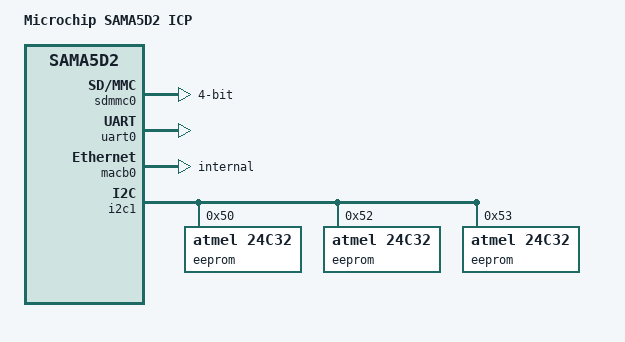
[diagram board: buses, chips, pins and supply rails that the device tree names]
// SPDX-License-Identifier: GPL-2.0+ OR MIT
/*
 * at91-sama5d2_icp.dts - Device Tree file for SAMA5D2 ICP board
 *			SAMA5D2 Industrial Connectivity Board
 *
 *  Copyright (c) 2018, Microchip Technology Inc.
 *                2018, Eugen Hristev <eugen.hristev@microchip.com>
 */
/dts-v1/;
#include "sama5d2.dtsi"
#include "sama5d2-pinfunc.h"

/ {
	model = "Microchip SAMA5D2 ICP";
	compatible = "atmel,sama5d2-icp", "atmel,sama5d27", "atmel,sama5d2", "atmel,sama5";

	aliases {
		serial0 = &uart0;
		i2c1	= &i2c1;
	};

	chosen {
		stdout-path = "serial0:115200n8";
	};

	ahb {

		sdmmc0: sdio-host@a0000000 {
			bus-width = <4>;
			pinctrl-names = "default";
			pinctrl-0 = <&pinctrl_sdmmc0_default>;
			status = "okay";
		};

		apb {
			uart0: serial@f801c000 { /* mikrobus1 uart */
				pinctrl-names = "default";
				pinctrl-0 = <&pinctrl_mikrobus1_uart>;
				status = "okay";
			};

			macb0: ethernet@f8008000 {
				pinctrl-names = "default";
				pinctrl-0 = <&pinctrl_macb0_rmii &pinctrl_macb0_phy_irq &pinctrl_macb0_rst>;
				phy-mode = "internal";
				status = "okay";
			};

			i2c1: i2c@fc028000 {
				dmas = <0>, <0>;
				pinctrl-names = "default";
				pinctrl-0 = <&pinctrl_i2c1_default>;
				status = "okay";

				eeprom@50 {
					compatible = "atmel,24c32";
					reg = <0x50>;
					pagesize = <16>;
				};

				eeprom@52 {
					compatible = "atmel,24c32";
					reg = <0x52>;
					pagesize = <16>;
				};

				eeprom@53 {
					compatible = "atmel,24c32";
					reg = <0x53>;
					pagesize = <16>;
				};
			};
			pioA: gpio@fc038000 {
				status = "okay";
				pinctrl {
					pinctrl_i2c1_default: i2c1_default {
						pinmux = <PIN_PD19__TWD1>,
							 <PIN_PD20__TWCK1>;
						bias-disable;
					};

					pinctrl_macb0_rmii: macb0_rmii {
						pinmux = <PIN_PD1__GRXCK>,
							 <PIN_PD2__GTXER>,
							 <PIN_PD5__GRX2>,
							 <PIN_PD6__GRX3>,
							 <PIN_PD7__GTX2>,
							 <PIN_PD8__GTX3>,
							 <PIN_PD9__GTXCK>,
							 <PIN_PD10__GTXEN>,
							 <PIN_PD11__GRXDV>,
							 <PIN_PD12__GRXER>,
							 <PIN_PD13__GRX0>,
							 <PIN_PD14__GRX1>,
							 <PIN_PD15__GTX0>,
							 <PIN_PD16__GTX1>,
							 <PIN_PD17__GMDC>,
							 <PIN_PD18__GMDIO>;
						bias-disable;
					};

					pinctrl_macb0_phy_irq: macb0_phy_irq {
						pinmux = <PIN_PD3__GPIO>;
						bias-disable;
					};

					pinctrl_macb0_rst: macb0_sw_rst {
						pinmux = <PIN_PD4__GPIO>;
						bias-pull-up;
					};

					pinctrl_sdmmc0_default: sdmmc0_default {
						pinmux = <PIN_PA1__SDMMC0_CMD>,
							 <PIN_PA2__SDMMC0_DAT0>,
							 <PIN_PA3__SDMMC0_DAT1>,
							 <PIN_PA4__SDMMC0_DAT2>,
							 <PIN_PA5__SDMMC0_DAT3>,
							 <PIN_PA0__SDMMC0_CK>,
							 <PIN_PA13__SDMMC0_CD>;
						bias-disable;
					};

					pinctrl_mikrobus1_uart: mikrobus1_uart {
						pinmux = <PIN_PB26__URXD0>,
							 <PIN_PB27__UTXD0>;
						bias-disable;
					};
				};
			};
		};
	};
};
